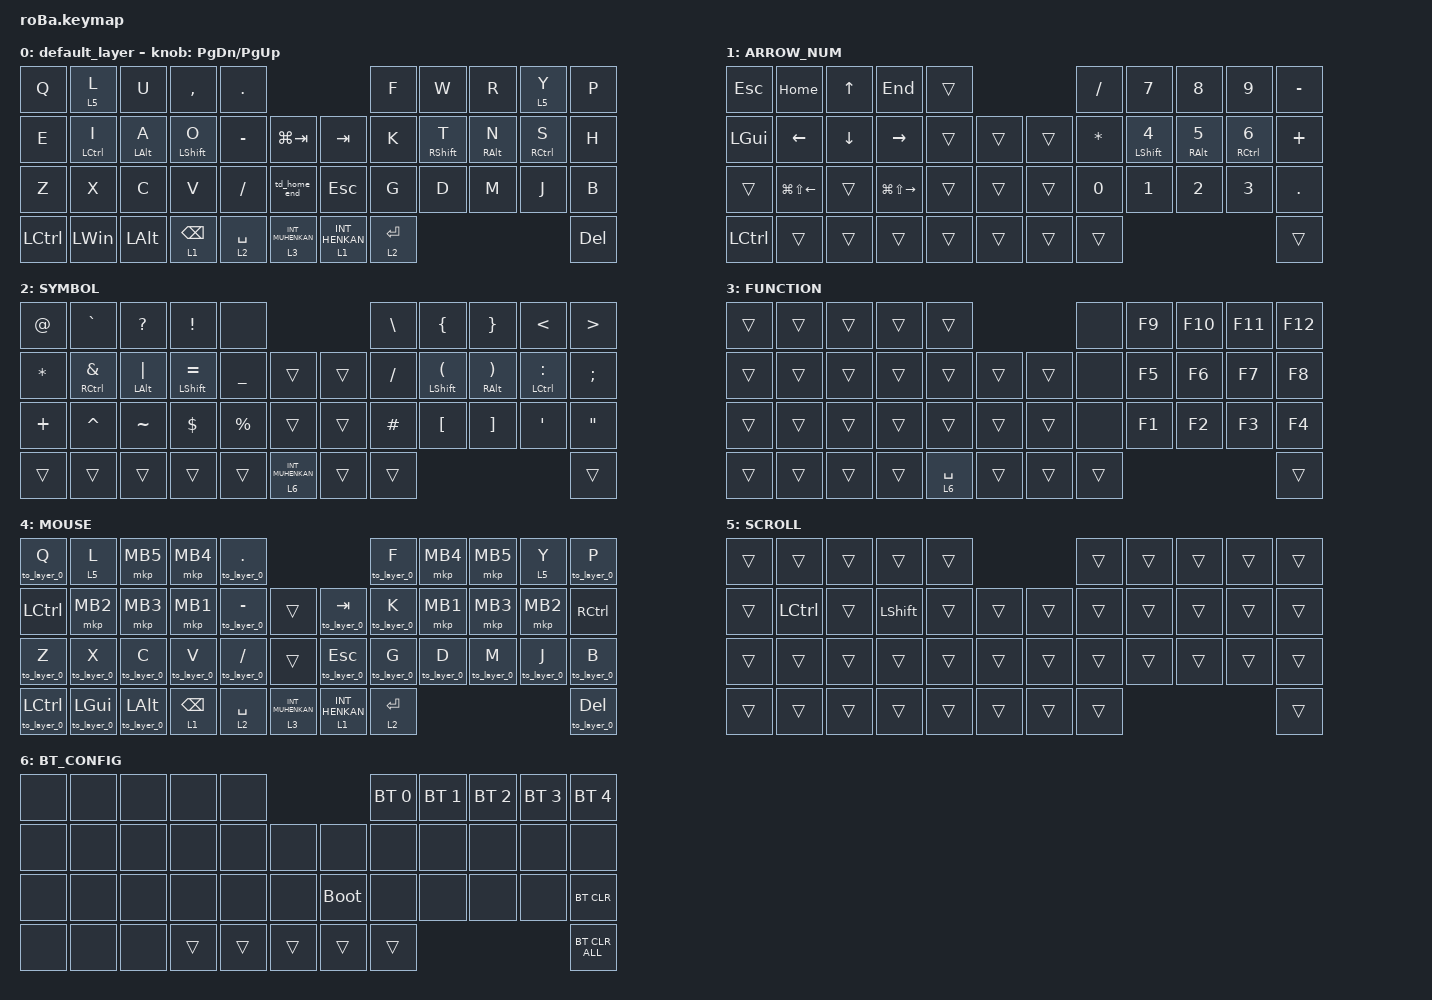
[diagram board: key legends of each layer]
#include <behaviors.dtsi>
#include <dt-bindings/zmk/bt.h>
#include <dt-bindings/zmk/keys.h>
#include <dt-bindings/zmk/pointing.h>

&mt {
    flavor = "balanced";
    quick-tap-ms = <0>;
};

&trackball {
    automouse-layer = <4>;
    scroll-layers = <5>;

    // arrows {
    //     layers = <3>;
    //     bindings =
    //         <&kp RIGHT_ARROW>,
    //         <&kp LEFT_ARROW>,
    //         <&kp UP_ARROW>,
    //         <&kp DOWN_ARROW>;
    //     tick = <10>;
    //     wait-ms = <5>;
    //     tap-ms = <5>;
    // };
};

/ {
    combos {
        compatible = "zmk,combos";

        Muhenkan {
            bindings = <&kp INT_MUHENKAN>;
            key-positions = <12 13>;
        };

        Kana {
            bindings = <&kp INT_HENKAN>;
            key-positions = <19 18>;
        };
    };

    macros {
        to_layer_0: to_layer_0 {
            compatible = "zmk,behavior-macro-one-param";
            #binding-cells = <1>;
            bindings = <&to 0 &macro_param_1to1 &kp MACRO_PLACEHOLDER>;
            label = "TO_LAYER_0";
        };
    };

    behaviors {
        lt_to_layer_0: lt_to_layer_0 {
            compatible = "zmk,behavior-hold-tap";
            label = "LAYER_TAP_TO_0";
            bindings = <&mo>, <&to_layer_0>;

            #binding-cells = <2>;
            tapping-term-ms = <200>;
        };

        td_home_end: td_home_end {
            compatible = "zmk,behavior-tap-dance";
            label = "HOME_END";
            #binding-cells = <0>;
            bindings = <&kp HOME>, <&kp END>;
        };
    };

    keymap {
        compatible = "zmk,keymap";

        default_layer {
            bindings = <
&kp Q             &lt 5 L       &kp U           &kp COMMA         &kp PERIOD                                             &kp F        &kp W              &kp R            &lt 5 Y      &kp P
&kp E             &mt LCTRL I   &mt LEFT_ALT A  &mt LEFT_SHIFT O  &kp MINUS    &kp LG(TAB)             &kp TAB           &kp K        &mt RIGHT_SHIFT T  &mt RIGHT_ALT N  &mt RCTRL S  &kp H
&kp Z             &kp X         &kp C           &kp V             &kp SLASH    &td_home_end            &kp ESC           &kp G        &kp D              &kp M            &kp J        &kp B
&kp LEFT_CONTROL  &kp LEFT_WIN  &kp LEFT_ALT    &lt 1 BACKSPACE   &lt 2 SPACE  &lt 3 INT_MUHENKAN      &lt 1 INT_HENKAN  &lt 2 ENTER                                                   &kp DEL
            >;

            sensor-bindings = <&inc_dec_kp PAGE_DOWN PAGE_UP>;
        };

        ARROW_NUM {
            bindings = <
&kp ESCAPE        &kp HOME                &kp UP_ARROW    &kp END                  &trans                      &kp SLASH     &kp NUMBER_7             &kp NUMBER_8            &kp NUMBER_9        &kp MINUS
&kp LGUI          &kp LEFT_ARROW          &kp DOWN_ARROW  &kp RIGHT_ARROW          &trans  &trans      &trans  &kp ASTERISK  &mt LEFT_SHIFT NUMBER_4  &mt RIGHT_ALT NUMBER_5  &mt RCTRL NUMBER_6  &kp PLUS
&trans            &kp LG(LS(LEFT_ARROW))  &trans          &kp LG(LS(RIGHT_ARROW))  &trans  &trans      &trans  &kp NUMBER_0  &kp NUMBER_1             &kp NUMBER_2            &kp NUMBER_3        &kp PERIOD
&kp LEFT_CONTROL  &trans                  &trans          &trans                   &trans  &trans      &trans  &trans                                                                             &trans
            >;
        };

        SYMBOL {
            bindings = <
&kp AT_SIGN   &kp GRAVE            &kp QUESTION       &kp EXCLAMATION       &none                                           &kp BACKSLASH  &kp LEFT_BRACE                   &kp RIGHT_BRACE                  &kp LESS_THAN     &kp GREATER_THAN
&kp ASTERISK  &mt RCTRL AMPERSAND  &mt LEFT_ALT PIPE  &mt LEFT_SHIFT EQUAL  &kp UNDERSCORE  &trans                  &trans  &kp SLASH      &mt LEFT_SHIFT LEFT_PARENTHESIS  &mt RIGHT_ALT RIGHT_PARENTHESIS  &mt LCTRL COLON   &kp SEMICOLON
&kp PLUS      &kp CARET            &kp TILDE          &kp DOLLAR            &kp PERCENT     &trans                  &trans  &kp HASH       &kp LEFT_BRACKET                 &kp RIGHT_BRACKET                &kp SINGLE_QUOTE  &kp DOUBLE_QUOTES
&trans        &trans               &trans             &trans                &trans          &lt 6 INT_MUHENKAN      &trans  &trans                                                                                             &trans
            >;
        };

        FUNCTION {
            bindings = <
&trans  &trans  &trans  &trans  &trans                           &none   &kp F9  &kp F10  &kp F11  &kp F12
&trans  &trans  &trans  &trans  &trans       &trans      &trans  &none   &kp F5  &kp F6   &kp F7   &kp F8
&trans  &trans  &trans  &trans  &trans       &trans      &trans  &none   &kp F1  &kp F2   &kp F3   &kp F4
&trans  &trans  &trans  &trans  &lt 6 SPACE  &trans      &trans  &trans                            &trans
            >;
        };

        MOUSE {
            bindings = <
&to_layer_0 Q      &lt_to_layer_0 5 L    &mkp MB5              &mkp MB4                    &to_layer_0 DOT                                                                         &to_layer_0 F           &mkp MB4       &mkp MB5       &lt_to_layer_0 5 Y  &to_layer_0 P
&kp LCTRL          &mkp MB2              &mkp MB3              &mkp MB1                    &to_layer_0 MINUS       &trans                             &to_layer_0 TAB              &to_layer_0 K           &mkp MB1       &mkp MB3       &mkp MB2            &kp RCTRL
&to_layer_0 Z      &to_layer_0 X         &to_layer_0 C         &to_layer_0 V               &to_layer_0 SLASH       &trans                             &to_layer_0 ESCAPE           &to_layer_0 G           &to_layer_0 D  &to_layer_0 M  &to_layer_0 J       &to_layer_0 B
&to_layer_0 LCTRL  &to_layer_0 LEFT_GUI  &to_layer_0 LEFT_ALT  &lt_to_layer_0 1 BACKSPACE  &lt_to_layer_0 2 SPACE  &lt_to_layer_0 3 INT_MUHENKAN      &lt_to_layer_0 1 INT_HENKAN  &lt_to_layer_0 2 ENTER                                                    &to_layer_0 DELETE
            >;
        };

        SCROLL {
            bindings = <
&trans  &trans     &trans  &trans      &trans                      &trans  &trans  &trans  &trans  &trans
&trans  &kp LCTRL  &trans  &kp LSHIFT  &trans  &trans      &trans  &trans  &trans  &trans  &trans  &trans
&trans  &trans     &trans  &trans      &trans  &trans      &trans  &trans  &trans  &trans  &trans  &trans
&trans  &trans     &trans  &trans      &trans  &trans      &trans  &trans                          &trans
            >;
        };

        BT_CONFIG {
            bindings = <
&none  &none  &none  &none   &none                            &bt BT_SEL 0  &bt BT_SEL 1  &bt BT_SEL 2  &bt BT_SEL 3  &bt BT_SEL 4
&none  &none  &none  &none   &none   &none       &none        &none         &none         &none         &none         &none
&none  &none  &none  &none   &none   &none       &bootloader  &none         &none         &none         &none         &bt BT_CLR
&none  &none  &none  &trans  &trans  &trans      &trans       &trans                                                  &bt BT_CLR_ALL
            >;
        };
    };
};
